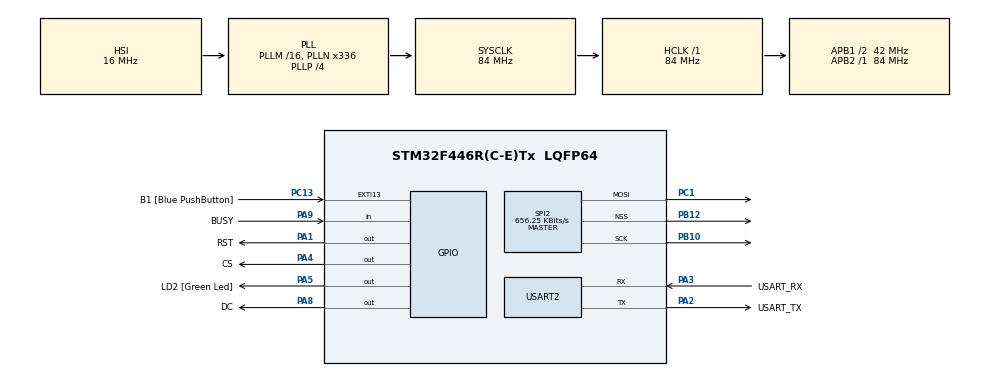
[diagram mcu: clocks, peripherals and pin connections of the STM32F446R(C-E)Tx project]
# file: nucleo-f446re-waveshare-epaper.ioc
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Mcu.Family=STM32F4
Mcu.Name=STM32F446R(C-E)Tx
Mcu.Package=LQFP64
NVIC.PriorityGroup=NVIC_PRIORITYGROUP_0
PA1.GPIO_Label=RST
PA1.Signal=GPIO_Output
PA13.GPIO_Label=TMS
PA13.Mode=Serial_Wire
PA13.Signal=SYS_JTMS-SWDIO
PA14.GPIO_Label=TCK
PA14.Mode=Serial_Wire
PA14.Signal=SYS_JTCK-SWCLK
PA2.GPIO_Label=USART_TX
PA2.Mode=Asynchronous
PA2.Signal=USART2_TX
PA3.GPIO_Label=USART_RX
PA3.Mode=Asynchronous
PA3.Signal=USART2_RX
PA4.GPIO_Label=CS
PA4.Signal=GPIO_Output
PA5.GPIO_Label=LD2 [Green Led]
PA5.Signal=GPIO_Output
PA8.GPIO_Label=DC
PA8.Signal=GPIO_Output
PA9.GPIO_Label=BUSY
PA9.Signal=GPIO_Input
PB10.Mode=TX_Only_Simplex_Unidirect_Master
PB10.Signal=SPI2_SCK
PB12.Mode=NSS_Signal_Hard_Output
PB12.Signal=SPI2_NSS
PB3.GPIO_Label=SWO
PB3.Signal=SYS_JTDO-SWO
PC1.Mode=TX_Only_Simplex_Unidirect_Master
PC1.Signal=SPI2_MOSI
PC13.GPIO_Label=B1 [Blue PushButton]
PC13.GPIO_ModeDefaultEXTI=GPIO_MODE_IT_FALLING
PC13.Signal=GPXTI13
PC14-OSC32_IN.Mode=LSE-External-Oscillator
PC14-OSC32_IN.Signal=RCC_OSC32_IN
PC15-OSC32_OUT.Mode=LSE-External-Oscillator
PC15-OSC32_OUT.Signal=RCC_OSC32_OUT
PH0-OSC_IN.Mode=HSE-External-Oscillator
PH0-OSC_IN.Signal=RCC_OSC_IN
PH1-OSC_OUT.Mode=HSE-External-Oscillator
PH1-OSC_OUT.Signal=RCC_OSC_OUT
ProjectManager.HeapSize=0x200
ProjectManager.StackSize=0x400
ProjectManager.TargetToolchain=STM32CubeIDE
RCC.48MHZClocksFreq_Value=84000000
RCC.AHBFreq_Value=84000000
RCC.APB1CLKDivider=RCC_HCLK_DIV2
RCC.APB1Freq_Value=42000000
RCC.APB1TimFreq_Value=84000000
RCC.APB2Freq_Value=84000000
RCC.APB2TimFreq_Value=84000000
RCC.CortexFreq_Value=84000000
RCC.FLatency-AdvancedSettings=FLASH_LATENCY_2
RCC.HCLKFreq_Value=84000000
RCC.HSE_VALUE=8000000
RCC.HSI_VALUE=16000000
RCC.PLLN=336
RCC.PLLP=RCC_PLLP_DIV4
RCC.SYSCLKFreq_VALUE=84000000
RCC.SYSCLKSource=RCC_SYSCLKSOURCE_PLLCLK
RCC.USBFreq_Value=168000000
RCC.VCOOutputFreq_Value=336000000
SPI2.BaudRatePrescaler=SPI_BAUDRATEPRESCALER_64
SPI2.CalculateBaudRate=656.25 KBits/s
SPI2.Direction=SPI_DIRECTION_2LINES
SPI2.Mode=SPI_MODE_MASTER
SPI2.VirtualNSS=VM_NSSHARD
SPI2.VirtualType=VM_MASTER
USART2.VirtualMode=VM_ASYNC
VP_CRC_VS_CRC.Mode=CRC_Activate
board=NUCLEO-F446RE

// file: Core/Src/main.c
/* USER CODE BEGIN Header */
/**
  ******************************************************************************
  * @file           : main.c
  * @brief          : Main program body
  ******************************************************************************
  * @attention
  *
  * Copyright (c) 2024 STMicroelectronics.
  * All rights reserved.
  *
  * This software is licensed under terms that can be found in the LICENSE file
  * in the root directory of this software component.
  * If no LICENSE file comes with this software, it is provided AS-IS.
  *
  ******************************************************************************
  */
/* USER CODE END Header */
#include "main.h"

/* USER CODE BEGIN Includes */
#include <string.h>
#include "EPD.h"
/* USER CODE END Includes */

/* USER CODE BEGIN PD */
enum cmd_table
{
	logo,
	clear,
	string,
	write,
	read,
};
/* USER CODE END PD */

/* USER CODE BEGIN PM */
#define UART_PKT_LEN_MIN 8
#define UART_PKT_LEN_MAX 264
#define UART_TIMEOUT_1 1000
#define UART_TIMEOUT_2 500
#define HEADER_LEN 4
/* USER CODE END PM */

CRC_HandleTypeDef hcrc;

SPI_HandleTypeDef hspi2;

UART_HandleTypeDef huart2;

/* USER CODE BEGIN PV */
uint8_t rx_buff[272];
uint8_t tx_buff[272];
uint8_t mem[512];
/* USER CODE END PV */

void SystemClock_Config(void);
static void MX_GPIO_Init(void);
static void MX_USART2_UART_Init(void);
static void MX_SPI2_Init(void);
static void MX_CRC_Init(void);

/* USER CODE BEGIN 0 */
static int process_header(uint8_t *buff)
{
	if (buff[0]!='T' || buff[1]!='L')
		return -1;

	return 0;
}

static void crc_fill(uint32_t *crc_buff, uint32_t len, int is_tx)
{
	int i;
	int j;
	uint8_t *buff = NULL;
	uint8_t rem;

	buff = is_tx?tx_buff:rx_buff;

	for (i=0,j=0;i<len/4;i++) {
		crc_buff[i] = buff[j] << 24 |
					  buff[j+1] << 16 |
					  buff[j+2] << 8 |
					  buff[j+3];
		j+=4;
	}
	rem = len%4;
	for (i=len-rem,j=3;i<len;i++,j--)
		crc_buff[len/4] |= rx_buff[i] << 8*j;
}

static int do_crc(uint8_t is_tx)
{
	uint32_t crc;
	uint32_t rx_crc;
	uint32_t crc_offset;
	uint32_t crc_buff[68] = {0};
	uint8_t len;
	uint8_t append = 0;

	len = is_tx?tx_buff[3]:rx_buff[3];
	crc_offset = len + HEADER_LEN;
	crc_fill(crc_buff, crc_offset, is_tx);
	if((crc_offset %4 ) != 0)
		append = 1;
	crc = HAL_CRC_Calculate(&hcrc, crc_buff, (crc_offset/4) + append);

	if (is_tx) {
		tx_buff[crc_offset + 3] = crc >> 24;
		tx_buff[crc_offset + 2] = crc >> 16;
		tx_buff[crc_offset + 1] = crc >> 8;
		tx_buff[crc_offset ] = crc;
		return 0;
	}

	rx_crc = rx_buff[crc_offset + 3] << 24 |
			 rx_buff[crc_offset + 2] << 16 |
			 rx_buff[crc_offset + 1] << 8 |
			 rx_buff[crc_offset];

	if (crc == rx_crc)
		return 0;

	return -1;
}

static int mem_write(uint8_t offset, uint8_t len)
{
	memcpy(mem + offset, &rx_buff[4], len);
	return 0;
}

static void prepend_tx_header()
{
	tx_buff[0] = 'T';
	tx_buff[1] = 'L';
	tx_buff[2] = rx_buff[2];
}

static int mem_read(uint8_t offset, uint8_t len)
{
	tx_buff[3] = len;
	memcpy(&tx_buff[4], mem + offset, len);
	prepend_tx_header();
	do_crc(0);
	HAL_UART_Transmit(&huart2, tx_buff, 8+len, 1000);
	return 0;
}

static void send_ack()
{
	prepend_tx_header();
	tx_buff[3] = 2;
	tx_buff[4] = 'O';
	tx_buff[5] = 'K';
	do_crc(1);
	HAL_UART_Transmit(&huart2, tx_buff, 10, 1000);
}

static void send_nack()
{
	prepend_tx_header();
	tx_buff[3] = 3;
	tx_buff[4] = 'N';
	tx_buff[4] = 'O';
	tx_buff[5] = 'K';
	do_crc(1);
	HAL_UART_Transmit(&huart2, tx_buff, 11, 1000);
}

static int process_cmd(uint8_t *buff)
{
	uint8_t cmd_id = buff[2];
	uint8_t str[] = {"tweaklogic"};

	if (do_crc(0) != 0) {
		send_nack();
		return 0;
	}

	switch (cmd_id) {
		case logo:
			EPD(str, 10, 52, 5);
			send_ack();
		break;
		case clear:
			EPD_Clear();
			send_ack();
		break;
		case string:
			rx_buff[rx_buff[3] + 4] = '\0';
			EPD(&rx_buff[4], 0, 0, 3);
			send_ack();
		break;
		case write:
			if (mem_write(0, rx_buff[4]) != 0)
				send_nack();
			else
				send_ack();
		break;
		case read:
			if (mem_read(0, rx_buff[4]) != 0)
				send_nack();
		break;
		default:
			send_nack();
	};

	return 0;
}
/* USER CODE END 0 */

int main(void)
{

  /* USER CODE BEGIN 1 */
  uint8_t ret;
  uint16_t rx_len;

  /* USER CODE END 1 */

  /* MCU Configuration--------------------------------------------------------*/

  /* Reset of all peripherals, Initializes the Flash interface and the Systick. */
  HAL_Init();

  /* Configure the system clock */
  SystemClock_Config();

  /* Initialize all configured peripherals */
  MX_GPIO_Init();
  MX_USART2_UART_Init();
  MX_SPI2_Init();
  MX_CRC_Init();

  /* Infinite loop */
  while (1)
  {

    /* USER CODE BEGIN 3 */
	ret = HAL_UARTEx_ReceiveToIdle(&huart2, rx_buff, sizeof(rx_buff), &rx_len, UART_TIMEOUT_1);
	if (ret != HAL_OK)
		continue;
	if (rx_len < UART_PKT_LEN_MIN || rx_len > UART_PKT_LEN_MAX)
		continue;
	if (process_header(rx_buff) != 0)
		continue;
	process_cmd(rx_buff);
  }
  /* USER CODE END 3 */
}

void SystemClock_Config(void)
{
  RCC_OscInitTypeDef RCC_OscInitStruct = {0};
  RCC_ClkInitTypeDef RCC_ClkInitStruct = {0};

  /** Configure the main internal regulator output voltage
  */
  __HAL_RCC_PWR_CLK_ENABLE();
  __HAL_PWR_VOLTAGESCALING_CONFIG(PWR_REGULATOR_VOLTAGE_SCALE3);

  /** Initializes the RCC Oscillators according to the specified parameters
  * in the RCC_OscInitTypeDef structure.
  */
  RCC_OscInitStruct.OscillatorType = RCC_OSCILLATORTYPE_HSI;
  RCC_OscInitStruct.HSIState = RCC_HSI_ON;
  RCC_OscInitStruct.HSICalibrationValue = RCC_HSICALIBRATION_DEFAULT;
  RCC_OscInitStruct.PLL.PLLState = RCC_PLL_ON;
  RCC_OscInitStruct.PLL.PLLSource = RCC_PLLSOURCE_HSI;
  RCC_OscInitStruct.PLL.PLLM = 16;
  RCC_OscInitStruct.PLL.PLLN = 336;
  RCC_OscInitStruct.PLL.PLLP = RCC_PLLP_DIV4;
  RCC_OscInitStruct.PLL.PLLQ = 2;
  RCC_OscInitStruct.PLL.PLLR = 2;
  if (HAL_RCC_OscConfig(&RCC_OscInitStruct) != HAL_OK)
  {
    Error_Handler();
  }

  /** Initializes the CPU, AHB and APB buses clocks
  */
  RCC_ClkInitStruct.ClockType = RCC_CLOCKTYPE_HCLK|RCC_CLOCKTYPE_SYSCLK
                              |RCC_CLOCKTYPE_PCLK1|RCC_CLOCKTYPE_PCLK2;
  RCC_ClkInitStruct.SYSCLKSource = RCC_SYSCLKSOURCE_PLLCLK;
  RCC_ClkInitStruct.AHBCLKDivider = RCC_SYSCLK_DIV1;
  RCC_ClkInitStruct.APB1CLKDivider = RCC_HCLK_DIV2;
  RCC_ClkInitStruct.APB2CLKDivider = RCC_HCLK_DIV1;

  if (HAL_RCC_ClockConfig(&RCC_ClkInitStruct, FLASH_LATENCY_2) != HAL_OK)
  {
    Error_Handler();
  }
}

static void MX_CRC_Init(void)
{

  hcrc.Instance = CRC;
  if (HAL_CRC_Init(&hcrc) != HAL_OK)
  {
    Error_Handler();
  }

}

static void MX_SPI2_Init(void)
{

  /* SPI2 parameter configuration*/
  hspi2.Instance = SPI2;
  hspi2.Init.Mode = SPI_MODE_MASTER;
  hspi2.Init.Direction = SPI_DIRECTION_2LINES;
  hspi2.Init.DataSize = SPI_DATASIZE_8BIT;
  hspi2.Init.CLKPolarity = SPI_POLARITY_LOW;
  hspi2.Init.CLKPhase = SPI_PHASE_1EDGE;
  hspi2.Init.NSS = SPI_NSS_HARD_OUTPUT;
  hspi2.Init.BaudRatePrescaler = SPI_BAUDRATEPRESCALER_64;
  hspi2.Init.FirstBit = SPI_FIRSTBIT_MSB;
  hspi2.Init.TIMode = SPI_TIMODE_DISABLE;
  hspi2.Init.CRCCalculation = SPI_CRCCALCULATION_DISABLE;
  hspi2.Init.CRCPolynomial = 10;
  if (HAL_SPI_Init(&hspi2) != HAL_OK)
  {
    Error_Handler();
  }

}

static void MX_USART2_UART_Init(void)
{

  huart2.Instance = USART2;
  huart2.Init.BaudRate = 115200;
  huart2.Init.WordLength = UART_WORDLENGTH_8B;
  huart2.Init.StopBits = UART_STOPBITS_1;
  huart2.Init.Parity = UART_PARITY_NONE;
  huart2.Init.Mode = UART_MODE_TX_RX;
  huart2.Init.HwFlowCtl = UART_HWCONTROL_NONE;
  huart2.Init.OverSampling = UART_OVERSAMPLING_16;
  if (HAL_UART_Init(&huart2) != HAL_OK)
  {
    Error_Handler();
  }

}

static void MX_GPIO_Init(void)
{
  GPIO_InitTypeDef GPIO_InitStruct = {0};

  /* GPIO Ports Clock Enable */
  __HAL_RCC_GPIOC_CLK_ENABLE();
  __HAL_RCC_GPIOH_CLK_ENABLE();
  __HAL_RCC_GPIOA_CLK_ENABLE();
  __HAL_RCC_GPIOB_CLK_ENABLE();

  /*Configure GPIO pin Output Level */
  HAL_GPIO_WritePin(GPIOA, RST_Pin|CS_Pin|LD2_Pin|DC_Pin, GPIO_PIN_RESET);

  /*Configure GPIO pin : B1_Pin */
  GPIO_InitStruct.Pin = B1_Pin;
  GPIO_InitStruct.Mode = GPIO_MODE_IT_FALLING;
  GPIO_InitStruct.Pull = GPIO_NOPULL;
  HAL_GPIO_Init(B1_GPIO_Port, &GPIO_InitStruct);

  /*Configure GPIO pins : RST_Pin CS_Pin LD2_Pin DC_Pin */
  GPIO_InitStruct.Pin = RST_Pin|CS_Pin|LD2_Pin|DC_Pin;
  GPIO_InitStruct.Mode = GPIO_MODE_OUTPUT_PP;
  GPIO_InitStruct.Pull = GPIO_NOPULL;
  GPIO_InitStruct.Speed = GPIO_SPEED_FREQ_LOW;
  HAL_GPIO_Init(GPIOA, &GPIO_InitStruct);

  /*Configure GPIO pin : BUSY_Pin */
  GPIO_InitStruct.Pin = BUSY_Pin;
  GPIO_InitStruct.Mode = GPIO_MODE_INPUT;
  GPIO_InitStruct.Pull = GPIO_NOPULL;
  HAL_GPIO_Init(BUSY_GPIO_Port, &GPIO_InitStruct);

}

void Error_Handler(void)
{
  __disable_irq();
  while (1)
  {
  }
}
